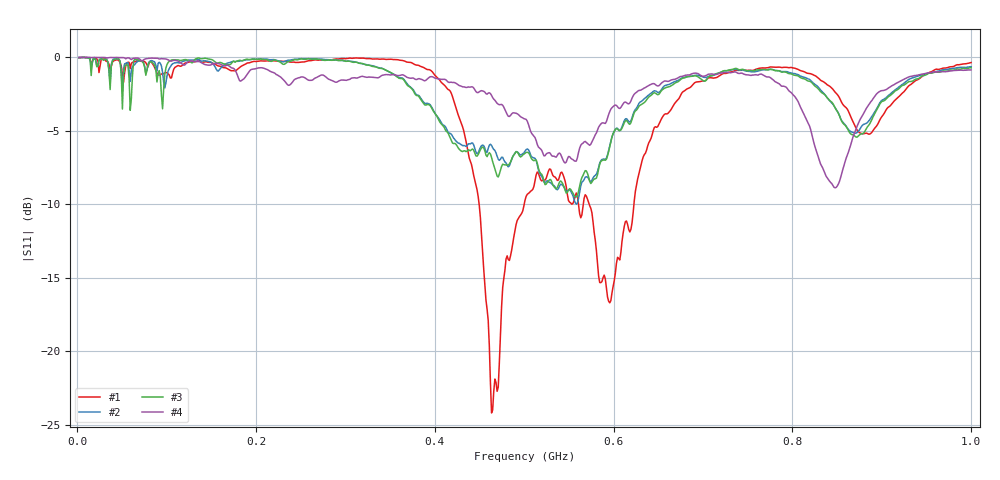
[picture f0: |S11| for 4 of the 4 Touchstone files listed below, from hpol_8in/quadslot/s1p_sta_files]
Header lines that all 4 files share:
!Agilent N9923A: A.07.32
!Model: N9923A
!Serial: MY52412229
!GPS Latitude:
!GPS Longitude:
!GPS TimeStamp: 0001-01-01 00:00:00Z
!GPS Seconds Since Last Read: 0
!Correction: S11(ON U)
!S1P File: Measurement: S11:
# Hz S DB R 50
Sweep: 2 MHz to 1 GHz
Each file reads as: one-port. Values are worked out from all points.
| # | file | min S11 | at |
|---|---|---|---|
| 1 | hpol_gordoboar_1x47nh_2x3p3pf_s1p.s1p | -24.2 dB | 463.6 MHz |
| 2 | hpol_gordoboar_1x47nH_2x6p8pF.s1p | -10.0 dB | 558.4 MHz |
| 3 | hpol_gordoboar_1x47nH_2x6p8pF_cbl.s1p | -9.5 dB | 558.4 MHz |
| 4 | hpol_gordoboar_NOSHUNT_0ohm_S1P.s1p | -8.9 dB | 847.8 MHz |
